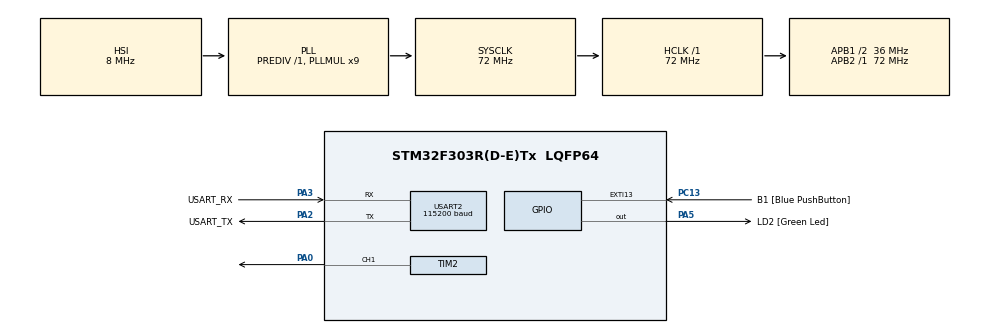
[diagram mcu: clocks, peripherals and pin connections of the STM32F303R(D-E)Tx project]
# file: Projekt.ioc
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Dma.Request0=TIM2_CH1
Dma.TIM2_CH1.0.Direction=DMA_MEMORY_TO_PERIPH
Dma.TIM2_CH1.0.Instance=DMA1_Channel5
Dma.TIM2_CH1.0.MemDataAlignment=DMA_MDATAALIGN_WORD
Dma.TIM2_CH1.0.MemInc=DMA_MINC_ENABLE
Dma.TIM2_CH1.0.Mode=DMA_CIRCULAR
Dma.TIM2_CH1.0.PeriphDataAlignment=DMA_PDATAALIGN_WORD
Dma.TIM2_CH1.0.PeriphInc=DMA_PINC_DISABLE
Dma.TIM2_CH1.0.Priority=DMA_PRIORITY_HIGH
Mcu.Family=STM32F3
Mcu.Name=STM32F303R(D-E)Tx
Mcu.Package=LQFP64
NVIC.DMA1_Channel5_IRQn=true\:0\:0\:false\:false\:true\:false\:true\:true
NVIC.PriorityGroup=NVIC_PRIORITYGROUP_0
NVIC.TIM2_IRQn=true\:0\:0\:false\:false\:true\:true\:true\:true
NVIC.USART2_IRQn=true\:0\:0\:false\:false\:true\:true\:true\:true
PA0.Signal=S_TIM2_CH1_ETR
PA13.GPIO_Label=TMS
PA13.Mode=Serial_Wire
PA13.Signal=SYS_JTMS-SWDIO
PA14.GPIO_Label=TCK
PA14.Mode=Serial_Wire
PA14.Signal=SYS_JTCK-SWCLK
PA2.GPIO_Label=USART_TX
PA2.GPIO_Mode=GPIO_MODE_AF_PP
PA2.GPIO_PuPd=GPIO_NOPULL
PA2.GPIO_Speed=GPIO_SPEED_FREQ_LOW
PA2.Mode=Asynchronous
PA2.Signal=USART2_TX
PA3.GPIO_Label=USART_RX
PA3.GPIO_Mode=GPIO_MODE_AF_PP
PA3.GPIO_PuPd=GPIO_NOPULL
PA3.GPIO_Speed=GPIO_SPEED_FREQ_LOW
PA3.Mode=Asynchronous
PA3.Signal=USART2_RX
PA5.GPIO_Label=LD2 [Green Led]
PA5.GPIO_Mode=GPIO_MODE_OUTPUT_PP
PA5.GPIO_PuPd=GPIO_NOPULL
PA5.GPIO_Speed=GPIO_SPEED_FREQ_LOW
PA5.Signal=GPIO_Output
PB3.GPIO_Label=SWO
PB3.Signal=SYS_JTDO-TRACESWO
PC13.GPIO_Label=B1 [Blue PushButton]
PC13.GPIO_ModeDefaultEXTI=GPIO_MODE_IT_FALLING
PC13.Signal=GPXTI13
PC14-OSC32_IN.Mode=LSE-External-Oscillator
PC14-OSC32_IN.Signal=RCC_OSC32_IN
PC15-OSC32_OUT.Mode=LSE-External-Oscillator
PC15-OSC32_OUT.Signal=RCC_OSC32_OUT
PF0-OSC_IN.Mode=HSE-External-Clock-Source
PF0-OSC_IN.Signal=RCC_OSC_IN
PF1-OSC_OUT.Signal=RCC_OSC_OUT
ProjectManager.HeapSize=0x200
ProjectManager.StackSize=0x400
ProjectManager.TargetToolchain=STM32CubeIDE
RCC.AHBFreq_Value=72000000
RCC.APB1CLKDivider=RCC_HCLK_DIV2
RCC.APB1Freq_Value=36000000
RCC.APB1TimFreq_Value=72000000
RCC.APB2Freq_Value=72000000
RCC.APB2TimFreq_Value=72000000
RCC.CortexFreq_Value=72000000
RCC.HCLKFreq_Value=72000000
RCC.HSE_VALUE=8000000
RCC.HSI_VALUE=8000000
RCC.PLLM=8
RCC.PLLMUL=RCC_PLL_MUL9
RCC.PLLN=336
RCC.PLLP=RCC_PLLP_DIV4
RCC.PLLQ=7
RCC.RCC_PLLsource_Clock_Source_FROM_HSE=RCC_HSE_PREDIV_DIV2
RCC.SYSCLKFreq_VALUE=72000000
RCC.SYSCLKSourceVirtual=RCC_SYSCLKSOURCE_PLLCLK
RCC.USBFreq_Value=72000000
SH.S_TIM2_CH1_ETR.0=TIM2_CH1,PWM Generation1 CH1
TIM2.Channel-PWM\ Generation1\ CH1=TIM_CHANNEL_1
TIM2.Period=0
USART2.BaudRate=115200
USART2.VirtualMode-Asynchronous=VM_ASYNC
VP_TIM2_VS_ClockSourceINT.Mode=Internal
board=NUCLEO-F303RE

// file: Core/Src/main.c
/* USER CODE BEGIN Header */
/**
 ******************************************************************************
 * @file           : main.c
 * @brief          : Main program body
 ******************************************************************************
 * @attention
 *
 * Copyright (c) 2024 STMicroelectronics.
 * All rights reserved.
 *
 * This software is licensed under terms that can be found in the LICENSE file
 * in the root directory of this software component.
 * If no LICENSE file comes with this software, it is provided AS-IS.
 *
 ******************************************************************************
 */
/* USER CODE END Header */
#include "main.h"
#include "dma.h"
#include "tim.h"
#include "usart.h"
#include "gpio.h"

/* USER CODE BEGIN Includes */
#include <string.h>
#include <stdio.h>
#include <stdarg.h>
#include <stdlib.h>
#include <stdbool.h>

/* USER CODE END Includes */

/* USER CODE BEGIN PD */
// rozmiar bufora na ramke
#define ADDRESS_LENGTH 3
#define PARAM_LENGTH_DIGITS 3
#define COMMAND_LENGTH 4
#define MAX_PARAM_LENGTH 700
#define CRC_MAX_LENGTH 4

// maksymalna liczba wpisow w buforze wzorcow
#define MAX_PATTERN_COUNT 100
// ile cyfr ma czestotliwosc (0000-9999)
#define FREQ_DIGITS 4
// ile cyfr ma wypelnienie (000-100 %)
#define DUTY_DIGITS 3
// ile cyfr ma okres (0000-9999)
#define PERIOD_DIGITS 4

/* USER CODE END PD */

/* USER CODE BEGIN PV */

// bufory na odbior i wysylanie przez UART
#define USART_TXBUF_LEN 5744 //Liczba bajtów bufora nadawczego
#define USART_RXBUF_LEN 128 //Liczba bajtów bufora odbiorczego
uint8_t USART_TxBuf[USART_TXBUF_LEN];//tworzenie bufora nadawczego
uint8_t USART_RxBuf[USART_RXBUF_LEN];//tworzenie bufora odbiorczego

__IO int USART_TX_Empty=0; //wskaźniki zapisu (empty) i odczytu(busy)
__IO int USART_TX_Busy=0;
__IO int USART_RX_Empty=0;
__IO int USART_RX_Busy=0;

// stany maszyny stanow odbierajacej ramke
typedef enum
{
    WAIT_FOR_HEADER,    // czekamy na znak '{'
    READ_SENDER_ADDR,   // czytamy adres nadawcy (np. PC1)
    READ_RECEIVER_ADDR, // czytamy adres odbiorcy (STM)
    READ_PARAM_LENGTH,  // czytamy dlugosc parametrow (np. 007)
    READ_COMMAND,       // czytamy komende (np. CPWM)
    READ_PARAMETERS,    // czytamy parametry
    READ_CRC,           // czytamy sume kontrolna
    WAIT_FOR_FOOTER     // czekamy na znak '}'
} FrameState;

// aktualny stan maszyny stanow
FrameState state = WAIT_FOR_HEADER;
// czy nastepny znak jest "escaped" (byte stuffing)
uint8_t escape_next = 0;
// zbieramy tu sume kontrolna CRC
uint16_t crc_collector = 0xFFFF;
// ile bajtow ma cala ramka
uint16_t frame_length = 0;

// pomocnicze zmienne do parsowania
uint16_t param_length = 0; // dlugosc parametrow jako liczba
uint16_t data_index = 0;   // indeks w aktualnie czytanym polu

// bufor na "odkodowane" dane (bez byte stuffing)
uint8_t raw_data[713];
uint16_t raw_length = 0;

// bufory na pola ramki
uint8_t sender_address[ADDRESS_LENGTH];                 // adres nadawcy
uint8_t receiver_address[ADDRESS_LENGTH];               // adres odbiorcy
uint8_t param_length_digits[PARAM_LENGTH_DIGITS + 1]; // dlugosc parametrow + 1 na null terminator
uint8_t command[COMMAND_LENGTH];                  // komenda
uint8_t parameters[MAX_PARAM_LENGTH];             // parametry
uint8_t crc_bytes[CRC_MAX_LENGTH + 1];                // suma kontrolna + 1 na null terminator

// struktura na konfiguracje PWM
typedef struct
{
    uint16_t frequency; // czestotliwosc w Hz
    uint8_t duty;       // wypelnienie 0-100%
} PWM_Config;

// struktura na jeden wpis wzorca
typedef struct
{
    uint16_t period; // czestotliwosc
    uint8_t duty;    // wypelnienie 0-100%
} Pattern_Entry;

// aktualna konfiguracja PWM
PWM_Config current_pwm = {0, 0};
// bufor na wzorce
Pattern_Entry pattern_buffer[MAX_PATTERN_COUNT];
// ile wzorcow jest w buforze
uint16_t pattern_count = 0;
// czy PWM dziala
uint8_t pwm_running = 0;

// bufor na wartosci PWM dla DMA
uint32_t pwm_buffer[MAX_PATTERN_COUNT];
// okres timera
uint32_t timer_period = 0;

/* USER CODE END PV */

void SystemClock_Config(void);
/* USER CODE BEGIN PFP */

int16_t USART_getchar() { // Pobranie znaku
    int16_t tmp;
    if (USART_RX_Empty != USART_RX_Busy) { // Sprawdzenie czy tablica przypadkiem nie jest pusta
        tmp = USART_RxBuf[USART_RX_Busy]; // Odczyt
        USART_RX_Busy++; // Przejście na kolejny indeks odczytu
        if (USART_RX_Busy >= USART_RXBUF_LEN) {
            USART_RX_Busy = 0; // Sprawdzenie czy nie przekroczyło długości bufora odczytu
        }
        return tmp;
    } else {
        return -1;
    }
} // USART_getchar

void USART_fsend(char *format, ...) {
    char tmp_rs[1436];
    int i;
    __IO int idx;
    va_list arglist;

    va_start(arglist, format);
    vsprintf(tmp_rs, format, arglist);
    va_end(arglist);

    idx = USART_TX_Empty;
    for (i = 0; i < strlen(tmp_rs); i++) {
    	USART_TxBuf[idx] = tmp_rs[i];
		idx++;
		if (idx >= USART_TXBUF_LEN) {
			idx = 0;
		}
    }

    __disable_irq(); // Wyłączamy przerwania
    if ((USART_TX_Empty == USART_TX_Busy) && (__HAL_UART_GET_FLAG(&huart2, UART_FLAG_TXE) == SET)) { // transmit data register empty
        // Sprawdzić dodatkowo zajętość bufora nadajnika
        USART_TX_Empty = idx;
        uint8_t tmp = USART_TxBuf[USART_TX_Busy];
        USART_TX_Busy++;
        if (USART_TX_Busy >= USART_TXBUF_LEN) {
            USART_TX_Busy = 0;
        }
        HAL_UART_Transmit_IT(&huart2, &tmp, 1);
    } else {
        USART_TX_Empty = idx;
    }
    __enable_irq();
} // USART_fsend

void HAL_UART_TxCpltCallback(UART_HandleTypeDef *huart) {
    if (huart == &huart2) {
        if (USART_TX_Empty != USART_TX_Busy) {
            uint8_t tmp = USART_TxBuf[USART_TX_Busy];
            USART_TX_Busy++;
            if (USART_TX_Busy >= USART_TXBUF_LEN) {
                USART_TX_Busy = 0;
            }
            HAL_UART_Transmit_IT(&huart2, &tmp, 1);
            // Informacja zwrotna - informuję o tym, że dany bajt został już wysłany
            // i że można odebrać następny
        }
    }
}

void HAL_UART_RxCpltCallback(UART_HandleTypeDef *huart) {
    if (huart == &huart2) {
        USART_RX_Empty++;
        if (USART_RX_Empty >= USART_RXBUF_LEN) {
            USART_RX_Empty = 0;
        }
        HAL_UART_Receive_IT(&huart2, &USART_RxBuf[USART_RX_Empty], 1);
    }
}

void reset_state();
uint8_t get_decoded_character(uint8_t character);
void FrameRead();
void ProcessCommand(uint8_t *sender_addr, uint8_t *command, uint8_t *parameters, uint16_t param_length);
uint16_t crc16_ccitt_false(uint16_t crc, uint8_t *data, uint16_t length);
bool StartPWMGeneration();
bool StopPWMGeneration();
bool ConfigurePWM(PWM_Config *config);

void FrameSend(char *format, ...) {
	char tmp_frame[713] = {}; // surowe dane bez kodowania, bez sumy kontrolnej, znaku startu, stopu
	char formatted_frame[1430] = {}; // dane zakodowane bez sumy kontrolnej, znaku startu i stopu
	int i;
	uint16_t frame_index = 0;
	va_list arglist;

	va_start(arglist, format);
	vsprintf(tmp_frame, format, arglist);
	va_end(arglist);

	size_t length = strlen(tmp_frame);
	uint16_t calculated_crc = crc16_ccitt_false(0xFFFF, (uint8_t *) tmp_frame, (uint8_t) length);

	for (i = 0; i < length; i++) {
		switch (tmp_frame[i])
		{
			case '{':
				formatted_frame[frame_index++] = '~';
				formatted_frame[frame_index++] = '[';
				break;
			case '}':
				formatted_frame[frame_index++] = '~';
				formatted_frame[frame_index++] = ']';
				break;
			case '~':
				formatted_frame[frame_index++] = '~';
				formatted_frame[frame_index++] = '^';
				break;
			default:
				formatted_frame[frame_index++] = tmp_frame[i];
				break;
		}
	}

	USART_fsend("{%s%04X}", formatted_frame, calculated_crc);
}
/* USER CODE END PFP */

int main(void)
{

    /* MCU Configuration--------------------------------------------------------*/

    /* Reset of all peripherals, Initializes the Flash interface and the Systick. */
    HAL_Init();

    /* Configure the system clock */
    SystemClock_Config();

    /* Initialize all configured peripherals */
    MX_GPIO_Init();
    MX_DMA_Init();
    MX_USART2_UART_Init();
    MX_TIM2_Init();

    /* Infinite loop */
    /* USER CODE BEGIN WHILE */

//    HAL_UART_Receive_IT(&huart2, &BUF_RX[0], 1);
    HAL_UART_Receive_IT(&huart2,&USART_RxBuf[0], 1);
    USART_fsend("\n\rREADY\n\r");

    while (1)
    {
        /* USER CODE END WHILE */

        /* USER CODE BEGIN 3 */
    	FrameRead();
    }
    /* USER CODE END 3 */
}

void SystemClock_Config(void)
{
    RCC_OscInitTypeDef RCC_OscInitStruct = {0};
    RCC_ClkInitTypeDef RCC_ClkInitStruct = {0};
    RCC_PeriphCLKInitTypeDef PeriphClkInit = {0};

    /** Initializes the RCC Oscillators according to the specified parameters
     * in the RCC_OscInitTypeDef structure.
     */
    RCC_OscInitStruct.OscillatorType = RCC_OSCILLATORTYPE_HSI;
    RCC_OscInitStruct.HSIState = RCC_HSI_ON;
    RCC_OscInitStruct.HSICalibrationValue = RCC_HSICALIBRATION_DEFAULT;
    RCC_OscInitStruct.PLL.PLLState = RCC_PLL_ON;
    RCC_OscInitStruct.PLL.PLLSource = RCC_PLLSOURCE_HSI;
    RCC_OscInitStruct.PLL.PLLMUL = RCC_PLL_MUL9;
    RCC_OscInitStruct.PLL.PREDIV = RCC_PREDIV_DIV1;
    if (HAL_RCC_OscConfig(&RCC_OscInitStruct) != HAL_OK)
    {
        Error_Handler();
    }

    /** Initializes the CPU, AHB and APB buses clocks
     */
    RCC_ClkInitStruct.ClockType = RCC_CLOCKTYPE_HCLK | RCC_CLOCKTYPE_SYSCLK | RCC_CLOCKTYPE_PCLK1 | RCC_CLOCKTYPE_PCLK2;
    RCC_ClkInitStruct.SYSCLKSource = RCC_SYSCLKSOURCE_PLLCLK;
    RCC_ClkInitStruct.AHBCLKDivider = RCC_SYSCLK_DIV1;
    RCC_ClkInitStruct.APB1CLKDivider = RCC_HCLK_DIV2;
    RCC_ClkInitStruct.APB2CLKDivider = RCC_HCLK_DIV1;

    if (HAL_RCC_ClockConfig(&RCC_ClkInitStruct, FLASH_LATENCY_2) != HAL_OK)
    {
        Error_Handler();
    }
    PeriphClkInit.PeriphClockSelection = RCC_PERIPHCLK_USART2 | RCC_PERIPHCLK_TIM2;
    PeriphClkInit.Usart2ClockSelection = RCC_USART2CLKSOURCE_PCLK1;
    PeriphClkInit.Tim2ClockSelection = RCC_TIM2CLK_HCLK;
    if (HAL_RCCEx_PeriphCLKConfig(&PeriphClkInit) != HAL_OK)
    {
        Error_Handler();
    }
}

/* USER CODE BEGIN 4 */
void reset_state()
{
	state = WAIT_FOR_HEADER;
	escape_next = 0;
	crc_collector = 0xFFFF;
	frame_length = 0;
	param_length = 0;
	data_index = 0;
	raw_length = 0;
}

uint8_t get_decoded_character(uint8_t character)
{
	switch (character)
	{
		case '[':
			return '{';
			break;
		case ']':
			return '}';
			break;
		case '^':
			return '~';
			break;
		default:
			return 0;
	}
}

void FrameRead()
{
    int16_t temp_char;
    while ((temp_char = USART_getchar()) >= 0)
    {
        uint8_t character = (uint8_t) temp_char;

        if (frame_length == 0 && character != '{') {
			return;
		}

        if (frame_length > 0 && character == '{')
		{
			reset_state();
		}

        if (frame_length > 719)
        {
        	reset_state();
        	return;
        }

        if (frame_length > 0 && frame_length < 18 && character == '}')
        {
        	reset_state();
        	return;
        }

        if (frame_length > 0 && character == '~' && escape_next != 1)
        {
        	escape_next = 1;
        	return;
        }

        if (escape_next)
        {
        	uint8_t decoded_character = get_decoded_character(character);

        	if (decoded_character == 0)
        	{
        		reset_state();
        		return;
        	}

        	escape_next = 0;
        	character = decoded_character;
        }

		if (state != WAIT_FOR_HEADER && state != READ_CRC && state != WAIT_FOR_FOOTER)
		{
			raw_data[raw_length++] = character;
		}

        switch (state)
        {
			case WAIT_FOR_HEADER:
				frame_length++;
				state = READ_SENDER_ADDR;
				break;

			case READ_SENDER_ADDR:

				frame_length++;
				sender_address[data_index++] = character;

				if (data_index == ADDRESS_LENGTH)
				{
					data_index = 0;
					state = READ_RECEIVER_ADDR;
				}

				break;

			case READ_RECEIVER_ADDR:

				frame_length++;
				receiver_address[data_index++] = character;

				if (data_index == ADDRESS_LENGTH)
				{
					if (memcmp(receiver_address, "STM", ADDRESS_LENGTH) != 0)
					{
						reset_state();
						return;
					}

					data_index = 0;
					state = READ_PARAM_LENGTH;
				}

				break;

			case READ_PARAM_LENGTH:

				if (character < '0' || character > '9')
				{
					reset_state();
					return;
				}

				frame_length++;
				param_length_digits[data_index++] = character;

				if (data_index == PARAM_LENGTH_DIGITS)
				{
					param_length_digits[PARAM_LENGTH_DIGITS] = '\0';
					param_length = atoi((char *) param_length_digits);

					if (param_length > MAX_PARAM_LENGTH)
					{
						FrameSend("STM%s000DLNE", sender_address);
						reset_state();
						return;
					}

					data_index = 0;
					state = READ_COMMAND;
				}

				break;

			case READ_COMMAND:

				frame_length++;
				command[data_index++] = character;

				if (data_index == COMMAND_LENGTH)
				{
					data_index = 0;
					state = param_length == 0 ? READ_CRC : READ_PARAMETERS;
				}
				break;

			case READ_PARAMETERS:

				frame_length++;
				parameters[data_index++] = character;

				if (data_index == param_length)
				{
					data_index = 0;
					state = READ_CRC;
				}

				break;

			case READ_CRC:

				if (!((character >= '0' && character <= '9') || (character >= 'A' && character <= 'F') ||
					  (character >= 'a' && character <= 'f')))
				{
					reset_state();
					return;
				}

				frame_length++;
				crc_bytes[data_index++] = character;

				if (data_index == CRC_MAX_LENGTH)
				{
					data_index = 0;
					crc_bytes[CRC_MAX_LENGTH] = '\0';
					state = WAIT_FOR_FOOTER;
				}

				break;

			case WAIT_FOR_FOOTER:
				if (character != '}')
				{
					reset_state();
					return;
				}

				frame_length++;

				crc_collector = crc16_ccitt_false(0xFFFF, raw_data, raw_length);
				uint16_t received_crc = (uint16_t)strtol((char *) crc_bytes, NULL, 16);

				if (crc_collector != received_crc)
				{
					FrameSend("STM%s000CRCE", sender_address);
					// debug fsend
					USART_fsend("\n\rCRC %04X\n\r", crc_collector);
					reset_state();
					return;
				}

				ProcessCommand(sender_address, command, parameters, param_length);
				reset_state();

				break;

			default:
				reset_state();
				break;
        }
    }
}

void ProcessCommand(uint8_t *sender_addr, uint8_t *command, uint8_t *parameters, uint16_t param_length)
{
    if (memcmp(command, "CPWM", COMMAND_LENGTH) == 0)
    {
        // sprawdz czy mamy dokladnie 7 znakow (4 freq + 3 duty)
        if (param_length != 7)
        {
        	FrameSend("STM%s000PWME", sender_address);
            return;
        }

        uint8_t i;
        for (i = 0; i < param_length; i++) {
        	char character = parameters[i];

        	if (character < '0' || character > '9') {
        		FrameSend("STM%s000PWME", sender_address);
				return;
        	}
        }

        char freq_str[FREQ_DIGITS + 1];
        memcpy(freq_str, parameters, FREQ_DIGITS);
        freq_str[FREQ_DIGITS] = '\0'; // null-terminator

        char duty_str[DUTY_DIGITS + 1];
        memcpy(duty_str, parameters + FREQ_DIGITS, DUTY_DIGITS);
        duty_str[DUTY_DIGITS] = '\0'; // null-terminator

        uint16_t freq = atoi(freq_str); // np. "2000" -> 2000
        uint8_t duty = atoi(duty_str);  // np. "050" -> 50

        if (freq < 1 || freq > 9999 || duty > 100 || duty < 0)
        {
        	FrameSend("STM%s000PWME", sender_address);
            return;
        }

        // zapisz nowa konfiguracje
        current_pwm.frequency = freq;
        current_pwm.duty = duty;

        // sprobuj skonfigurowac timer
        if (!ConfigurePWM(&current_pwm))
        {
        	FrameSend("STM%s000PWME");
            return;
        }

        FrameSend("STM%s000ACKN", sender_address);
    }
    else if (memcmp(command, "SPTR", COMMAND_LENGTH) == 0)
    {
        // sprawdz czy liczba znakow jest ok (wielokrotnosc 7)
        if (param_length % 7 != 0 ||
            param_length / 7 > 100)
        {
        	FrameSend("STM%s000PTNE", sender_address);
            return;
        }

        uint16_t i;
        for (i = 0; i < param_length; i++) {
        	char character = parameters[i];

			if (character < '0' || character > '9') {
				FrameSend("STM%s000PTNE", sender_address);
				return;
			}
        }

        // policz ile wzorcow przyszlo
        pattern_count = param_length / 7;

        // dla kazdego wzorca
        for (i = 0; i < pattern_count; i++)
        {
            // wez 4 znaki na okres
            char period_str[PERIOD_DIGITS + 1];
            memcpy(period_str, &parameters[i * 7], PERIOD_DIGITS);
            period_str[PERIOD_DIGITS] = '\0';

            // wez 3 znaki na wypelnienie
            char duty_str[DUTY_DIGITS + 1];
            memcpy(duty_str, &parameters[i * 7 + PERIOD_DIGITS], DUTY_DIGITS);
            duty_str[DUTY_DIGITS] = '\0';

            // przerob na liczby
            uint16_t period = atoi(period_str);
            uint8_t duty = atoi(duty_str);

            // sprawdz wartosci
            if (period < 1 || period > 9999 || duty > 100 || duty < 0)
            {
            	FrameSend("STM%s000PTNE", sender_address);
                return;
            }

            // zapisz wzorzec
            pattern_buffer[i].period = period;
            pattern_buffer[i].duty = duty;
        }

        FrameSend("STM%s000ACKN", sender_address);
    }
    else if (memcmp(command, "GCPW", COMMAND_LENGTH) == 0)
    {
        if (param_length != 0)
        {
        	FrameSend("STM%s000PARE", sender_address);
            return;
        }

        if (current_pwm.frequency == 0 && current_pwm.duty == 0)
        {
        	FrameSend("STM%s000NSDT", sender_address);
        	return;
        }

        FrameSend("STM%s007ACKN%04lu%03u", sender_address, current_pwm.frequency, current_pwm.duty);
    }
    else if (memcmp(command, "STRT", COMMAND_LENGTH) == 0)
    {
    	if (pwm_running == 1)
		{
			return;
		}

    	if (param_length != 0)
		{
    		FrameSend("STM%s000PARE", sender_address);
			return;
		}

        if (StartPWMGeneration())
        {
            pwm_running = 1;
            FrameSend("STM%s000ACKN", sender_address);
        }
        else
        {
        	FrameSend("STM%s000PWER", sender_address);
        }
    }
    else if (memcmp(command, "STOP", COMMAND_LENGTH) == 0)
    {
    	if (param_length != 0)
		{
    		FrameSend("STM%s000PARE", sender_address);
			return;
		}

    	if (pwm_running == 0)
    	{
    		FrameSend("STM%s000PWST", sender_address);
    		return;
    	}

        if (StopPWMGeneration())
        {
            pwm_running = 0;
            FrameSend("STM%s000ACKN", sender_address);
        }
        else
        {
        	FrameSend("STM%s000PWST", sender_address);
        }
    }
    else if (memcmp(command, "STAT", COMMAND_LENGTH) == 0)
    {
        if (param_length != 0)
        {
        	FrameSend("STM%s000PARE", sender_address);
            return;
        }

        if (pwm_running == 1)
        {
        	FrameSend("STM%s000ACTV", sender_address);
        }
        else
        {
        	FrameSend("STM%s000NOAC", sender_address);
        }
    }
    else if (memcmp(command, "GPTR", COMMAND_LENGTH) == 0)
    {
        if (param_length != 0)
        {
        	FrameSend("STM%s000PARE", sender_address);
            return;
        }

        // jesli nie ma zadnych wzorcow
        if (pattern_count == 0)
        {
        	FrameSend("STM%s000NSDT", sender_address);
            return;
        }

        char patterns[700] = {0};

        for (uint16_t i = 0; i < pattern_count; i++)
        {
            // Tymczasowy bufor na pojedynczy wzorzec (7 znaków + \0)
            char pattern_str[8];
            // Formatuj wzorzec: 4 cyfry okres + 3 cyfry wypełnienie
            snprintf(pattern_str, sizeof(pattern_str), "%04lu%03u", pattern_buffer[i].period, pattern_buffer[i].duty);

            // Dopisuj do głównego bufora
            strncat(patterns, pattern_str, 7);
        }

        FrameSend("STM%s%03uACKN%s", sender_address, pattern_count * 7, patterns);
    }
    else
    {
    	FrameSend("STM%s000CMNF", sender_address);
    }
}

bool ConfigurePWM(PWM_Config *config)
{
    uint32_t timer_clock = SystemCoreClock / 2; // APB1 zegar - 4 000 000
    uint32_t desired_period = timer_clock / config->frequency; // dziele zegar systemowy przez czestotliwosc z konfiguracji

    uint32_t prescaler = 1; // inicjalizacja prescalera
    while (desired_period > 65535) // dopoki wartosc jest wieksza od 16 bitow
    {
        prescaler++;
        desired_period = timer_clock / (config->frequency * prescaler);
    }

    timer_period = desired_period;

    TIM_ClockConfigTypeDef sClockSourceConfig = {0};
    TIM_MasterConfigTypeDef sMasterConfig = {0};
    TIM_OC_InitTypeDef sConfigOC = {0};

//    USART_fsend("\n\rprescaler %d || timer period %d\n\r", prescaler, timer_period);

    htim2.Instance = TIM2;
    htim2.Init.Prescaler = prescaler - 1;
    htim2.Init.Period = timer_period - 1;
    htim2.Init.CounterMode = TIM_COUNTERMODE_UP;
    htim2.Init.ClockDivision = TIM_CLOCKDIVISION_DIV1;
    htim2.Init.AutoReloadPreload = TIM_AUTORELOAD_PRELOAD_DISABLE;

    if (HAL_TIM_Base_Init(&htim2) != HAL_OK)
    {
        return false;
    }

    if (HAL_TIM_PWM_Init(&htim2) != HAL_OK)
    {
        return false;
    }

    // konfiguracja PWM
    sConfigOC.OCMode = TIM_OCMODE_PWM1;
    sConfigOC.Pulse = (timer_period * config->duty) / 100;
    sConfigOC.OCPolarity = TIM_OCPOLARITY_HIGH;
    sConfigOC.OCFastMode = TIM_OCFAST_DISABLE;

    if (HAL_TIM_PWM_ConfigChannel(&htim2, &sConfigOC, TIM_CHANNEL_1) != HAL_OK)
    {
        return false;
    }

    return true;
}

bool StartPWMGeneration()
{
    if (pattern_count > 0)
    {
        // konfiguracja wypełnienia według sekwencji
        for (uint16_t i = 0; i < pattern_count; i++)
        {
            pwm_buffer[i] = (timer_period * pattern_buffer[i].duty) / 100;
        }

        // start DMA
        if (HAL_TIM_PWM_Start_DMA(&htim2, TIM_CHANNEL_1, pwm_buffer, pattern_count) != HAL_OK)
        {
            return false;
        }
    }
    else
    {
        // pojeczynczy PWM
        if (HAL_TIM_PWM_Start(&htim2, TIM_CHANNEL_1) != HAL_OK)
        {
            return false;
        }
    }

    return true;
}

bool StopPWMGeneration()
{
    if (pattern_count > 0)
    {
        if (HAL_TIM_PWM_Stop_DMA(&htim2, TIM_CHANNEL_1) != HAL_OK)
        {
            return false;
        }
    }
    else
    {
        if (HAL_TIM_PWM_Stop(&htim2, TIM_CHANNEL_1) != HAL_OK)
        {
            return false;
        }
    }

    return true;
}

uint16_t crc16_ccitt_false(uint16_t crc, uint8_t *data, uint16_t length)
{
    while (length--)
    {
        crc ^= ((uint16_t)(*data++) << 8);
        for (int i = 0; i < 8; i++)
        {
            if (crc & 0x8000)
                crc = (crc << 1) ^ 0x1021;
            else
                crc <<= 1;
        }
    }
    return crc;
}

/* USER CODE END 4 */

void Error_Handler(void)
{
    __disable_irq();
    while (1)
    {
    }
}
